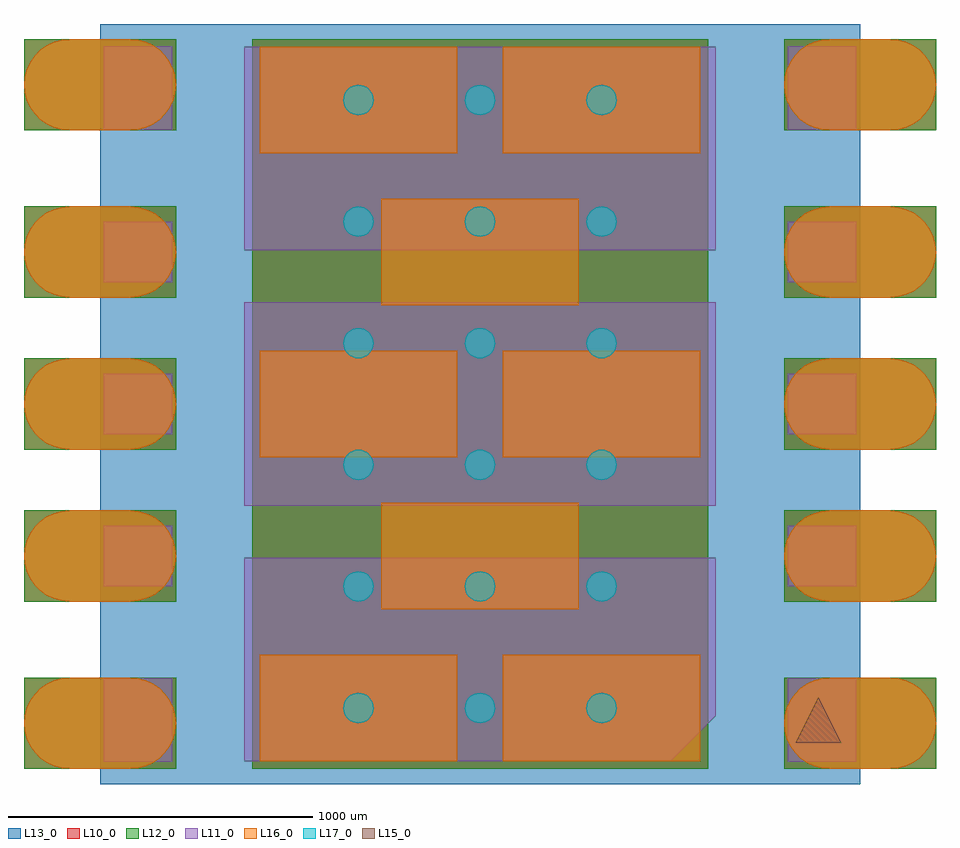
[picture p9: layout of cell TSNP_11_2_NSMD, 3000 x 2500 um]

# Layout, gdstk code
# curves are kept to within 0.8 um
import gdstk
lib = gdstk.Library(unit=1e-6, precision=1e-09)
def R(c, l, rs):  # rectangles x0, y0, x1, y1
    for r in rs: c.add(gdstk.rectangle(r[:2], r[2:], *l))
def A(c, l, x, y, w, h, nx, ny, dx, dy):  # array of equal rectangles
    R(c, l, [(x+i*dx, y+j*dy, x+i*dx+w, y+j*dy+h) for i in range(nx) for j in range(ny)])
def P(c, l, *ps):  # polygons
    for p in ps: c.add(gdstk.Polygon(p, *l))
L10_0 = (10, 0)
L11_0 = (11, 0)
L12_0 = (12, 0)
L13_0 = (13, 0)
L15_0 = (15, 0)
L16_0 = (16, 0)
L17_0 = (17, 0)

tsnp_11_2_nsmd = lib.new_cell('TSNP_11_2_NSMD')
A(tsnp_11_2_nsmd, L10_0, -1500, -650, 500, 300, 1, 3, 0, 500)
A(tsnp_11_2_nsmd, L10_0, 1000, -650, 500, 300, 1, 3, 0, 500)
R(tsnp_11_2_nsmd, L10_0, [(-1500,-1200,-1000,-900), (-750,-1200,750,1200), (1000,-1200,1500,-900), (-1500,900,-1000,1200), (1000,900,1500,1200)])
A(tsnp_11_2_nsmd, L11_0, -1237.5, -600, 225, 200, 1, 3, 0, 500)
A(tsnp_11_2_nsmd, L11_0, 1012.5, -600, 225, 200, 1, 3, 0, 500)
R(tsnp_11_2_nsmd, L11_0, [(-1237.5,-1177.5,-1012.5,-902.5), (1012.5,-1177.5,1237.5,-902.5), (-775,-335,775,335), (-775,505,775,1175), (-1237.5,902.5,-1012.5,1177.5), (1012.5,902.5,1237.5,1177.5)])
P(tsnp_11_2_nsmd, L11_0, [(775,-505),(775,-1025),(625,-1175),(-775,-1175),(-775,-505)])
A(tsnp_11_2_nsmd, L12_0, -1500, -650, 500, 300, 1, 3, 0, 500)
A(tsnp_11_2_nsmd, L12_0, 1000, -650, 500, 300, 1, 3, 0, 500)
R(tsnp_11_2_nsmd, L12_0, [(-1500,-1200,-1000,-900), (-750,-1200,750,1200), (1000,-1200,1500,-900), (-1500,900,-1000,1200), (1000,900,1500,1200)])
R(tsnp_11_2_nsmd, L13_0, [(-1250,-1250,1250,1250)])
P(tsnp_11_2_nsmd, L15_0, [(1113,-965),(1038,-1115),(1188,-1115)])
A(tsnp_11_2_nsmd, L16_0, -725, -1175, 650, 350, 1, 3, 0, 1000)
A(tsnp_11_2_nsmd, L16_0, 75, -1175, 650, 350, 1, 3, 0, 1000)
R(tsnp_11_2_nsmd, L16_0, [(-325,-675,325,-325), (-325,325,325,675)])
P(tsnp_11_2_nsmd, L16_0, [(-1491,-51),(-1480,-75),(-1465,-96),(-1446,-115),(-1425,-130),(-1401,-141),(-1376,-148),(-1350,-150),(-1150,-150),(-1124,-148),(-1099,-141),(-1075,-130),(-1054,-115),(-1035,-96),(-1020,-75),(-1009,-51),(-1002,-26),(-1000,0),(-1002,26),(-1009,51),(-1020,75),(-1035,96),(-1054,115),(-1075,130),(-1099,141),(-1124,148),(-1150,150),(-1350,150),(-1376,148),(-1401,141),(-1425,130),(-1446,115),(-1465,96),(-1480,75),(-1491,51),(-1498,26),(-1500,0),(-1498,-26)],
  [(1009,999),(1020,975),(1035,954),(1054,935),(1075,920),(1099,909),(1124,902),(1150,900),(1350,900),(1376,902),(1401,909),(1425,920),(1446,935),(1465,954),(1480,975),(1491,999),(1498,1024),(1500,1050),(1498,1076),(1491,1101),(1480,1125),(1465,1146),(1446,1165),(1425,1180),(1401,1191),(1376,1198),(1350,1200),(1150,1200),(1124,1198),(1099,1191),(1075,1180),(1054,1165),(1035,1146),(1020,1125),(1009,1101),(1002,1076),(1000,1050),(1002,1024)],
  [(1009,-1101),(1020,-1125),(1035,-1146),(1054,-1165),(1075,-1180),(1099,-1191),(1124,-1198),(1150,-1200),(1350,-1200),(1376,-1198),(1401,-1191),(1425,-1180),(1446,-1165),(1465,-1146),(1480,-1125),(1491,-1101),(1498,-1076),(1500,-1050),(1498,-1024),(1491,-999),(1480,-975),(1465,-954),(1446,-935),(1425,-920),(1401,-909),(1376,-902),(1350,-900),(1150,-900),(1124,-902),(1099,-909),(1075,-920),(1054,-935),(1035,-954),(1020,-975),(1009,-999),(1002,-1024),(1000,-1050),(1002,-1076)],
  [(1009,449),(1020,425),(1035,404),(1054,385),(1075,370),(1099,359),(1124,352),(1150,350),(1350,350),(1376,352),(1401,359),(1425,370),(1446,385),(1465,404),(1480,425),(1491,449),(1498,474),(1500,500),(1498,526),(1491,551),(1480,575),(1465,596),(1446,615),(1425,630),(1401,641),(1376,648),(1350,650),(1150,650),(1124,648),(1099,641),(1075,630),(1054,615),(1035,596),(1020,575),(1009,551),(1002,526),(1000,500),(1002,474)],
  [(1009,-551),(1020,-575),(1035,-596),(1054,-615),(1075,-630),(1099,-641),(1124,-648),(1150,-650),(1350,-650),(1376,-648),(1401,-641),(1425,-630),(1446,-615),(1465,-596),(1480,-575),(1491,-551),(1498,-526),(1500,-500),(1498,-474),(1491,-449),(1480,-425),(1465,-404),(1446,-385),(1425,-370),(1401,-359),(1376,-352),(1350,-350),(1150,-350),(1124,-352),(1099,-359),(1075,-370),(1054,-385),(1035,-404),(1020,-425),(1009,-449),(1002,-474),(1000,-500),(1002,-526)],
  [(1009,-51),(1020,-75),(1035,-96),(1054,-115),(1075,-130),(1099,-141),(1124,-148),(1150,-150),(1350,-150),(1376,-148),(1401,-141),(1425,-130),(1446,-115),(1465,-96),(1480,-75),(1491,-51),(1498,-26),(1500,0),(1498,26),(1491,51),(1480,75),(1465,96),(1446,115),(1425,130),(1401,141),(1376,148),(1350,150),(1150,150),(1124,148),(1099,141),(1075,130),(1054,115),(1035,96),(1020,75),(1009,51),(1002,26),(1000,0),(1002,-26)],
  [(-1491,999),(-1480,975),(-1465,954),(-1446,935),(-1425,920),(-1401,909),(-1376,902),(-1350,900),(-1150,900),(-1124,902),(-1099,909),(-1075,920),(-1054,935),(-1035,954),(-1020,975),(-1009,999),(-1002,1024),(-1000,1050),(-1002,1076),(-1009,1101),(-1020,1125),(-1035,1146),(-1054,1165),(-1075,1180),(-1099,1191),(-1124,1198),(-1150,1200),(-1350,1200),(-1376,1198),(-1401,1191),(-1425,1180),(-1446,1165),(-1465,1146),(-1480,1125),(-1491,1101),(-1498,1076),(-1500,1050),(-1498,1024)],
  [(-1491,-1101),(-1480,-1125),(-1465,-1146),(-1446,-1165),(-1425,-1180),(-1401,-1191),(-1376,-1198),(-1350,-1200),(-1150,-1200),(-1124,-1198),(-1099,-1191),(-1075,-1180),(-1054,-1165),(-1035,-1146),(-1020,-1125),(-1009,-1101),(-1002,-1076),(-1000,-1050),(-1002,-1024),(-1009,-999),(-1020,-975),(-1035,-954),(-1054,-935),(-1075,-920),(-1099,-909),(-1124,-902),(-1150,-900),(-1350,-900),(-1376,-902),(-1401,-909),(-1425,-920),(-1446,-935),(-1465,-954),(-1480,-975),(-1491,-999),(-1498,-1024),(-1500,-1050),(-1498,-1076)],
  [(-1491,449),(-1480,425),(-1465,404),(-1446,385),(-1425,370),(-1401,359),(-1376,352),(-1350,350),(-1150,350),(-1124,352),(-1099,359),(-1075,370),(-1054,385),(-1035,404),(-1020,425),(-1009,449),(-1002,474),(-1000,500),(-1002,526),(-1009,551),(-1020,575),(-1035,596),(-1054,615),(-1075,630),(-1099,641),(-1124,648),(-1150,650),(-1350,650),(-1376,648),(-1401,641),(-1425,630),(-1446,615),(-1465,596),(-1480,575),(-1491,551),(-1498,526),(-1500,500),(-1498,474)],
  [(-1491,-551),(-1480,-575),(-1465,-596),(-1446,-615),(-1425,-630),(-1401,-641),(-1376,-648),(-1350,-650),(-1150,-650),(-1124,-648),(-1099,-641),(-1075,-630),(-1054,-615),(-1035,-596),(-1020,-575),(-1009,-551),(-1002,-526),(-1000,-500),(-1002,-474),(-1009,-449),(-1020,-425),(-1035,-404),(-1054,-385),(-1075,-370),(-1099,-359),(-1124,-352),(-1150,-350),(-1350,-350),(-1376,-352),(-1401,-359),(-1425,-370),(-1446,-385),(-1465,-404),(-1480,-425),(-1491,-449),(-1498,-474),(-1500,-500),(-1498,-526)])
P(tsnp_11_2_nsmd, L17_0, [(-353,-217),(-362,-232),(-368,-238),(-383,-247),(-400,-250),(-417,-247),(-432,-238),(-438,-232),(-447,-217),(-450,-200),(-447,-183),(-438,-168),(-432,-162),(-417,-153),(-400,-150),(-383,-153),(-368,-162),(-362,-168),(-353,-183),(-350,-200)],
  [(-353,583),(-362,568),(-368,562),(-383,553),(-400,550),(-417,553),(-432,562),(-438,568),(-447,583),(-450,600),(-447,617),(-438,632),(-432,638),(-417,647),(-400,650),(-383,647),(-368,638),(-362,632),(-353,617),(-350,600)],
  [(47,183),(38,168),(32,162),(17,153),(0,150),(-17,153),(-32,162),(-38,168),(-47,183),(-50,200),(-47,217),(-38,232),(-32,238),(-17,247),(0,250),(17,247),(32,238),(38,232),(47,217),(50,200)],
  [(447,583),(438,568),(432,562),(417,553),(400,550),(383,553),(368,562),(362,568),(353,583),(350,600),(353,617),(362,632),(368,638),(383,647),(400,650),(417,647),(432,638),(438,632),(447,617),(450,600)],
  [(47,983),(38,968),(32,962),(17,953),(0,950),(-17,953),(-32,962),(-38,968),(-47,983),(-50,1000),(-47,1017),(-38,1032),(-32,1038),(-17,1047),(0,1050),(17,1047),(32,1038),(38,1032),(47,1017),(50,1000)],
  [(-353,-617),(-362,-632),(-368,-638),(-383,-647),(-400,-650),(-417,-647),(-432,-638),(-438,-632),(-447,-617),(-450,-600),(-447,-583),(-438,-568),(-432,-562),(-417,-553),(-400,-550),(-383,-553),(-368,-562),(-362,-568),(-353,-583),(-350,-600)],
  [(47,-617),(38,-632),(32,-638),(17,-647),(0,-650),(-17,-647),(-32,-638),(-38,-632),(-47,-617),(-50,-600),(-47,-583),(-38,-568),(-32,-562),(-17,-553),(0,-550),(17,-553),(32,-562),(38,-568),(47,-583),(50,-600)],
  [(447,-617),(438,-632),(432,-638),(417,-647),(400,-650),(383,-647),(368,-638),(362,-632),(353,-617),(350,-600),(353,-583),(362,-568),(368,-562),(383,-553),(400,-550),(417,-553),(432,-562),(438,-568),(447,-583),(450,-600)],
  [(-353,-1017),(-362,-1032),(-368,-1038),(-383,-1047),(-400,-1050),(-417,-1047),(-432,-1038),(-438,-1032),(-447,-1017),(-450,-1000),(-447,-983),(-438,-968),(-432,-962),(-417,-953),(-400,-950),(-383,-953),(-368,-962),(-362,-968),(-353,-983),(-350,-1000)],
  [(47,-1017),(38,-1032),(32,-1038),(17,-1047),(0,-1050),(-17,-1047),(-32,-1038),(-38,-1032),(-47,-1017),(-50,-1000),(-47,-983),(-38,-968),(-32,-962),(-17,-953),(0,-950),(17,-953),(32,-962),(38,-968),(47,-983),(50,-1000)],
  [(447,-217),(438,-232),(432,-238),(417,-247),(400,-250),(383,-247),(368,-238),(362,-232),(353,-217),(350,-200),(353,-183),(362,-168),(368,-162),(383,-153),(400,-150),(417,-153),(432,-162),(438,-168),(447,-183),(450,-200)],
  [(-353,183),(-362,168),(-368,162),(-383,153),(-400,150),(-417,153),(-432,162),(-438,168),(-447,183),(-450,200),(-447,217),(-438,232),(-432,238),(-417,247),(-400,250),(-383,247),(-368,238),(-362,232),(-353,217),(-350,200)],
  [(47,-217),(38,-232),(32,-238),(17,-247),(0,-250),(-17,-247),(-32,-238),(-38,-232),(-47,-217),(-50,-200),(-47,-183),(-38,-168),(-32,-162),(-17,-153),(0,-150),(17,-153),(32,-162),(38,-168),(47,-183),(50,-200)],
  [(447,183),(438,168),(432,162),(417,153),(400,150),(383,153),(368,162),(362,168),(353,183),(350,200),(353,217),(362,232),(368,238),(383,247),(400,250),(417,247),(432,238),(438,232),(447,217),(450,200)],
  [(47,583),(38,568),(32,562),(17,553),(0,550),(-17,553),(-32,562),(-38,568),(-47,583),(-50,600),(-47,617),(-38,632),(-32,638),(-17,647),(0,650),(17,647),(32,638),(38,632),(47,617),(50,600)],
  [(-353,983),(-362,968),(-368,962),(-383,953),(-400,950),(-417,953),(-432,962),(-438,968),(-447,983),(-450,1000),(-447,1017),(-438,1032),(-432,1038),(-417,1047),(-400,1050),(-383,1047),(-368,1038),(-362,1032),(-353,1017),(-350,1000)],
  [(447,983),(438,968),(432,962),(417,953),(400,950),(383,953),(368,962),(362,968),(353,983),(350,1000),(353,1017),(362,1032),(368,1038),(383,1047),(400,1050),(417,1047),(432,1038),(438,1032),(447,1017),(450,1000)],
  [(447,-1017),(438,-1032),(432,-1038),(417,-1047),(400,-1050),(383,-1047),(368,-1038),(362,-1032),(353,-1017),(350,-1000),(353,-983),(362,-968),(368,-962),(383,-953),(400,-950),(417,-953),(432,-962),(438,-968),(447,-983),(450,-1000)])

lib.write_gds('TSNP_11_2_NSMD.gds')
